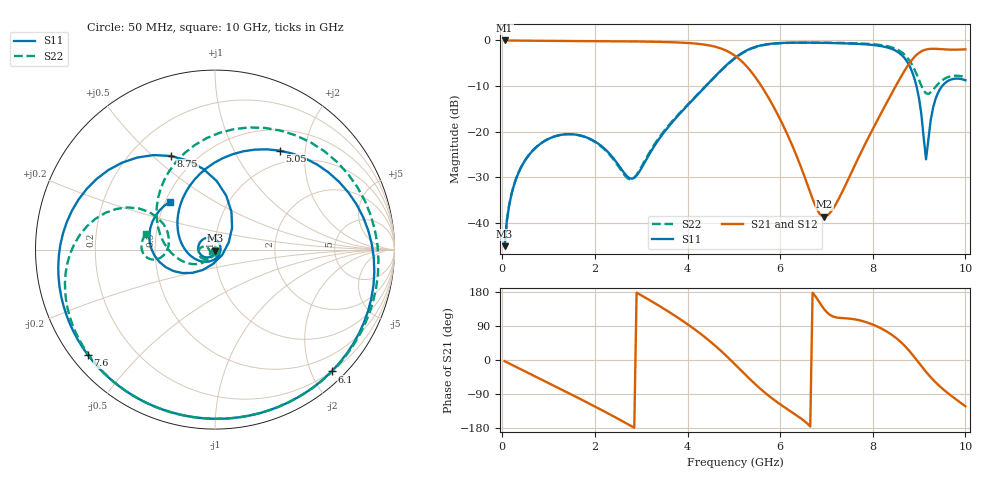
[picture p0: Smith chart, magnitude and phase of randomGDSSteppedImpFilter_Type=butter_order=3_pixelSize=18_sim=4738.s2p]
! freq	dB(S11)	phase(S11)	dB(S12)	phase(S12)
!  dB(S21)	phase(S21)	dB(S22)	phase(S22)
!S-par simulation data
#  GHz  S  DB  R 50
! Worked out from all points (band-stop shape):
!   200 points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, 50 MHz to 10 GHz, reference 50 ohm
!   highest |S21| = -0.02 dB at 50 MHz (marker M1); lowest = -38.6 dB at 6.95 GHz (marker M2)
!   |S21| within 3 dB of the highest: start of sweep to 4.973 GHz; 8.963 GHz to end of sweep
!   lowest |S11| = -45.0 dB at 50 MHz (marker M3), VSWR 1.01, Z = 50.1 - j0.547 ohm
!   |S11| at or under -10 dB: start of sweep to 4.393 GHz; 8.943 GHz to 9.498 GHz (554.9 MHz wide, 6.02 % of centre)
!   |S22| runs from -45.0 to -0.5 dB; largest |S21 - S12| = 0
!   S11 on the Smith chart (normalised r, x): 50 MHz: 1.00, -0.01; 5.05 GHz: 0.79, +1.55; 6.1 GHz: 0.20, -2.33; 7.6 GHz: 0.05, -0.36; 8.75 GHz: 0.37, +0.57; 10 GHz: 0.53, +0.32
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0.05  -45.02 -76.5  -0.02 -3.1  -0.02 -3.1  -44.97 -75.8
0.2  -33.58 -99.3  -0.03 -12.2  -0.03 -12.2  -33.52 -96.3
0.55  -25.42 -127.2  -0.07 -33.4  -0.07 -33.4  -25.38 -118.7
1.15  -20.95 -170.6  -0.12 -69.9  -0.12 -69.9  -20.94 -150.8
1.75  -20.99 143.3  -0.16 -107.0  -0.16 -107.0  -21.03 -179.4
2.75  -30.16 5.0  -0.22 -171.9  -0.22 -171.9  -30.40 -167.7
3.4  -21.37 -127.4  -0.33 142.0  -0.33 142.0  -21.06 -130.5
4.2  -12.06 147.1  -0.73 76.8  -0.73 76.8  -12.01 -177.7
4.7  -6.79 95.6  -1.70 26.5  -1.70 26.5  -6.86 131.9
5.05  -3.63 56.9  -3.56 -14.5  -3.56 -14.5  -3.73 87.8
5.3  -2.07 28.6  -5.95 -44.9  -5.95 -44.9  -2.16 54.7
5.6  -1.05 -3.0  -10.07 -78.8  -10.07 -78.8  -1.13 17.9
6.1  -0.54 -46.2  -19.35 -125.2  -19.35 -125.2  -0.58 -31.6
6.7  -0.51 -86.9  -34.67 177.7  -34.67 177.7  -0.50 -75.0
6.95  -0.54 -101.9  -38.57 134.3  -38.57 134.3  -0.51 -90.0
7.6  -0.73 -140.3  -27.60 107.6  -27.60 107.6  -0.63 -125.0
8.35  -1.66 164.8  -12.72 71.5  -12.72 71.5  -1.36 -167.7
8.75  -4.78 115.3  -5.62 29.4  -5.62 29.4  -3.83 161.4
9  -12.77 66.5  -2.72 -8.3  -2.72 -8.3  -8.71 150.8
9.15  -26.02 -37.4  -2.00 -31.3  -2.00 -31.3  -11.60 167.2
9.4  -11.67 -152.9  -1.87 -64.0  -1.87 -64.0  -9.65 -170.5
10  -8.72 133.4  -1.96 -122.0  -1.96 -122.0  -8.08 167.4
